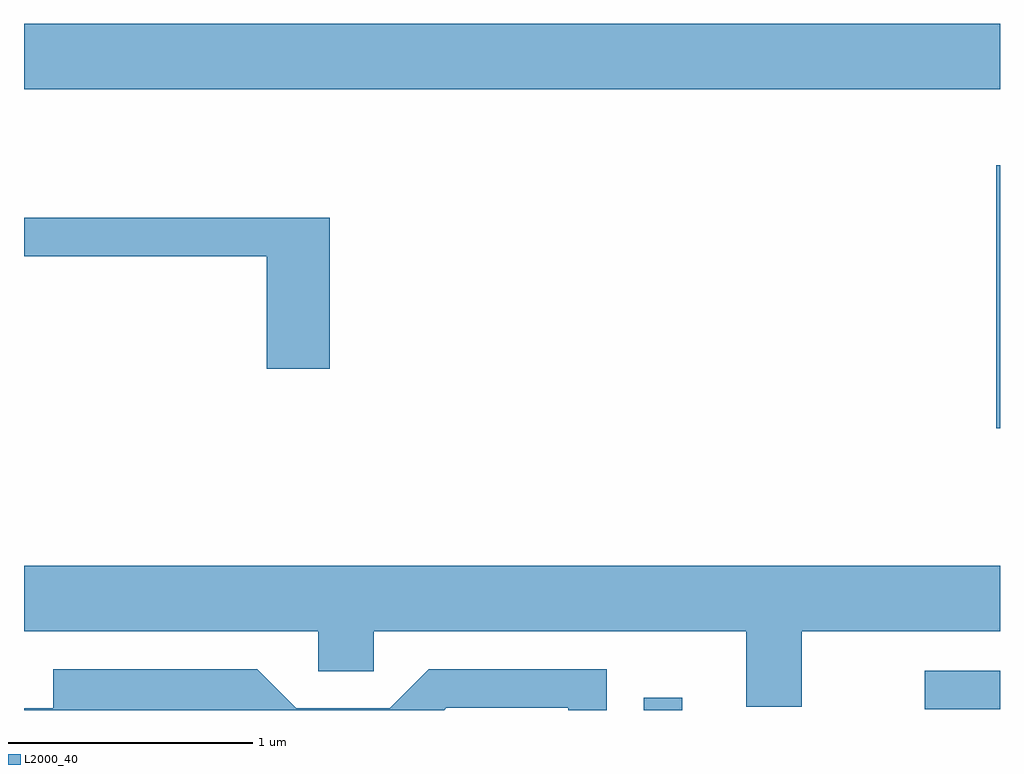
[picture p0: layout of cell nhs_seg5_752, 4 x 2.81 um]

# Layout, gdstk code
import gdstk
lib = gdstk.Library(unit=1e-6, precision=1e-09)
def R(c, l, rs):  # rectangles x0, y0, x1, y1
    for r in rs: c.add(gdstk.rectangle(r[:2], r[2:], *l))
def P(c, l, *ps):  # polygons
    for p in ps: c.add(gdstk.Polygon(p, *l))
L2000_40 = (2000, 40)

nhs_seg5_752 = lib.new_cell('nhs_seg5_752')
R(nhs_seg5_752, L2000_40, [(210.151,1412.072,210.309,1412.123), (211.303,1412.076,211.611,1412.234), (211.596,1413.226,211.611,1414.304), (207.611,1414.616,211.611,1414.884)])
P(nhs_seg5_752, L2000_40, [(208.864,1414.089),(207.611,1414.089),(207.611,1413.931),(208.606,1413.931),(208.606,1413.471),(208.864,1413.471)],
  [(210.799,1412.396),(211.611,1412.396),(211.611,1412.664),(207.611,1412.664),(207.611,1412.396),(208.816,1412.396),(208.816,1412.231),(209.044,1412.231),(209.044,1412.396),(210.571,1412.396),(210.571,1412.086),(210.799,1412.086)],
  [(209.342,1412.081),(209.841,1412.081),(209.841,1412.072),(209.999,1412.072),(209.999,1412.239),(209.269,1412.239),(209.109,1412.079),(208.727,1412.079),(208.567,1412.239),(207.731,1412.239),(207.731,1412.079),(207.611,1412.079),(207.611,1412.072),(209.333,1412.072)])

lib.write_gds('nhs_seg5_752.gds')
